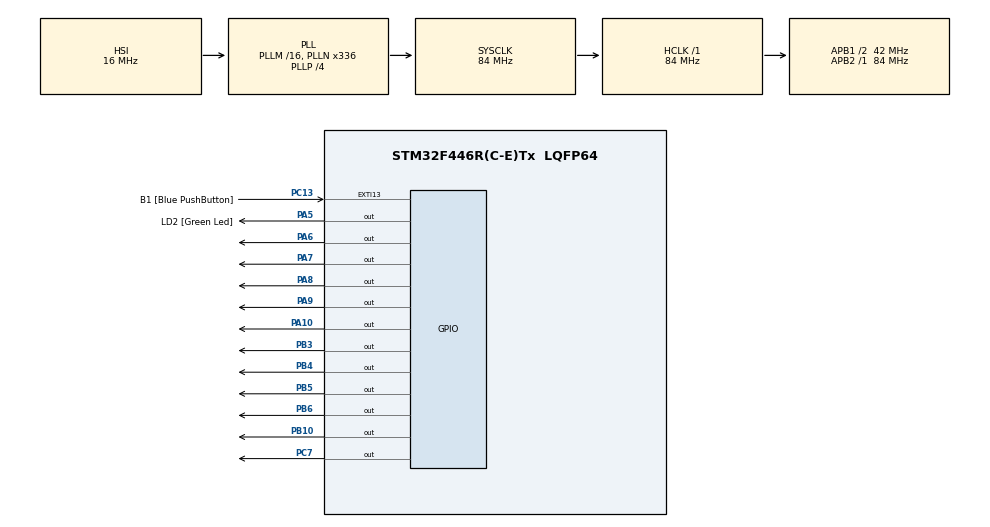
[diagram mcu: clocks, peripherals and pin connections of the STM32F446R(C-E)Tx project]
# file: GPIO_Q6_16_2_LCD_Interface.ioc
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Mcu.Family=STM32F4
Mcu.Name=STM32F446R(C-E)Tx
Mcu.Package=LQFP64
NVIC.PriorityGroup=NVIC_PRIORITYGROUP_0
PA10.Signal=GPIO_Output
PA13.GPIO_Label=TMS
PA13.Signal=SYS_JTMS-SWDIO
PA14.GPIO_Label=TCK
PA14.Signal=SYS_JTCK-SWCLK
PA2.GPIO_Label=USART_TX
PA2.Signal=USART2_TX
PA3.GPIO_Label=USART_RX
PA3.Signal=USART2_RX
PA5.GPIO_Label=LD2 [Green Led]
PA5.Signal=GPIO_Output
PA6.Signal=GPIO_Output
PA7.Signal=GPIO_Output
PA8.Signal=GPIO_Output
PA9.Signal=GPIO_Output
PB10.Signal=GPIO_Output
PB3.Signal=GPIO_Output
PB4.Signal=GPIO_Output
PB5.Signal=GPIO_Output
PB6.Signal=GPIO_Output
PC13.GPIO_Label=B1 [Blue PushButton]
PC13.GPIO_ModeDefaultEXTI=GPIO_MODE_IT_FALLING
PC13.Signal=GPXTI13
PC14-OSC32_IN.Signal=RCC_OSC32_IN
PC15-OSC32_OUT.Signal=RCC_OSC32_OUT
PC7.Signal=GPIO_Output
PH0-OSC_IN.Signal=RCC_OSC_IN
PH1-OSC_OUT.Signal=RCC_OSC_OUT
ProjectManager.HeapSize=0x200
ProjectManager.StackSize=0x400
ProjectManager.TargetToolchain=STM32CubeIDE
RCC.AHBFreq_Value=84000000
RCC.APB1CLKDivider=RCC_HCLK_DIV2
RCC.APB1Freq_Value=42000000
RCC.APB1TimFreq_Value=84000000
RCC.APB2Freq_Value=84000000
RCC.APB2TimFreq_Value=84000000
RCC.CortexFreq_Value=84000000
RCC.FLatency-AdvancedSettings=FLASH_LATENCY_2
RCC.HCLKFreq_Value=84000000
RCC.HSE_VALUE=8000000
RCC.HSI_VALUE=16000000
RCC.LSE_VALUE=32768
RCC.PLLN=336
RCC.PLLP=RCC_PLLP_DIV4
RCC.SYSCLKFreq_VALUE=84000000
RCC.SYSCLKSource=RCC_SYSCLKSOURCE_PLLCLK
RCC.USBFreq_Value=168000000
RCC.VCOOutputFreq_Value=336000000
board=NUCLEO-F446RE

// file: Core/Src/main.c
/* USER CODE BEGIN Header */
/**
  **************************
  * @file           : main.c
  * @brief          : Main program body
  **************************
  * @attention
  *
  * Copyright (c) 2023 STMicroelectronics.
  * All rights reserved.
  *
  * This software is licensed under terms that can be found in the LICENSE file
  * in the root directory of this software component.
  * If no LICENSE file comes with this software, it is provided AS-IS.
  *
  **************************
  */
/* USER CODE END Header */
#include "main.h"
#include<stdio.h>void lcd_init(void);
#include<string.h>
void print(unsigned char);
void lcd_init(void);
void lcd_data(unsigned char);
void lcd_cmd(unsigned char);
void lcd_display(unsigned char *,unsigned int);

void SystemClock_Config(void);
static void MX_GPIO_Init(void);

/* USER CODE BEGIN 0 */
void print(unsigned char dat)
{
	///////0
	if((dat&0x1)==0x1)
	{
		HAL_GPIO_WritePin(GPIOA, GPIO_PIN_10, SET);
	}
	else
	{
		HAL_GPIO_WritePin(GPIOA, GPIO_PIN_10, RESET);
	}
	////////1
	if((dat&0x2)==0x2)
	{
		HAL_GPIO_WritePin(GPIOB, GPIO_PIN_3, SET);
	}
	else
	{
		HAL_GPIO_WritePin(GPIOB, GPIO_PIN_3, RESET);
	}
	////////2
	if((dat&0x4)==0x4)
		{
			HAL_GPIO_WritePin(GPIOB, GPIO_PIN_5, SET);
		}
		else
		{
			HAL_GPIO_WritePin(GPIOB, GPIO_PIN_5, RESET);
		}
	////////3
	if((dat&0x8)==0x8)
		{
			HAL_GPIO_WritePin(GPIOB, GPIO_PIN_4, SET);
		}
		else
		{
			HAL_GPIO_WritePin(GPIOB, GPIO_PIN_4, RESET);
		}
	////////4
	if((dat&0x10)==0x10)
		{
			HAL_GPIO_WritePin(GPIOB, GPIO_PIN_10, SET);
		}
		else
		{
			HAL_GPIO_WritePin(GPIOB, GPIO_PIN_10, RESET);
		}
	////////5
	if((dat&0x20)==0x20)
		{
			HAL_GPIO_WritePin(GPIOA, GPIO_PIN_8, SET);
		}
		else
		{
			HAL_GPIO_WritePin(GPIOA, GPIO_PIN_8, RESET);
		}
	////////6
	if((dat&0x40)==0x40)
		{
			HAL_GPIO_WritePin(GPIOA, GPIO_PIN_9, SET);
		}
		else
		{
			HAL_GPIO_WritePin(GPIOA, GPIO_PIN_9, RESET);
		}
	////////7
	if((dat&0x80)==0x80)
		{
			HAL_GPIO_WritePin(GPIOC, GPIO_PIN_7, SET);
		}
		else
		{
			HAL_GPIO_WritePin(GPIOC, GPIO_PIN_7, RESET);
		}

}
void lcd_cmd(unsigned char cmd)
{
	print(cmd);
	HAL_GPIO_WritePin(GPIOB, GPIO_PIN_6, RESET);//REG SELECT PIN =0 for command
	HAL_GPIO_WritePin(GPIOA, GPIO_PIN_7, RESET);//READ WRITE PIN =0 for write
	HAL_GPIO_WritePin(GPIOA, GPIO_PIN_6, SET);// ENABLE PIN =1
	HAL_Delay(2);
	HAL_GPIO_WritePin(GPIOA, GPIO_PIN_6, RESET);// ENABLE PIN =0

}
void lcd_data(unsigned char mydat)
{
	print(mydat);
	HAL_GPIO_WritePin(GPIOB, GPIO_PIN_6, SET); // RS = 1 for data
	HAL_GPIO_WritePin(GPIOA, GPIO_PIN_7, RESET); // RW = 0 for write
	HAL_GPIO_WritePin(GPIOA, GPIO_PIN_6, SET); // EN = 1
	HAL_Delay(2);
	HAL_GPIO_WritePin(GPIOA, GPIO_PIN_6, RESET); // EN = 0

}
void lcd_init()
{void lcd_init(void);
	lcd_cmd(0x38); // 8-bit mode, 2 lines, 5x7 font
	lcd_cmd(0x06); // Entry mode: increment, no shift
	lcd_cmd(0x01); // Clear display
	lcd_cmd(0x0C); // Display on, cursor off, blink off
}
void lcd_display(unsigned char *str,unsigned int length)
{
	for(int i=0;i<length;i++)
	{
		lcd_data(str[i]);
	}
}
/* USER CODE END 0 */

int main(void)
{

  /* MCU Configuration--------------------------------------------------------*/

  /* Reset of all peripherals, Initializes the Flash interface and the Systick. */
  HAL_Init();

  /* Configure the system clock */
  SystemClock_Config();

  /* Initialize all configured peripherals */
  MX_GPIO_Init();
  /* USER CODE BEGIN 2 */
  lcd_init();
  /* USER CODE END 2 */

  /* Infinite loop */
  while (1)
  {

    /* USER CODE BEGIN 3 */
	  lcd_cmd(0x80);
	  lcd_display("Hi Deepak",12);
	  //lcd_data('a');
  }
  /* USER CODE END 3 */
}

void SystemClock_Config(void)
{
  RCC_OscInitTypeDef RCC_OscInitStruct = {0};
  RCC_ClkInitTypeDef RCC_ClkInitStruct = {0};

  /** Configure the main internal regulator output voltage
  */
  __HAL_RCC_PWR_CLK_ENABLE();
  __HAL_PWR_VOLTAGESCALING_CONFIG(PWR_REGULATOR_VOLTAGE_SCALE3);

  /** Initializes the RCC Oscillators according to the specified parameters
  * in the RCC_OscInitTypeDef structure.
  */
  RCC_OscInitStruct.OscillatorType = RCC_OSCILLATORTYPE_HSI;
  RCC_OscInitStruct.HSIState = RCC_HSI_ON;
  RCC_OscInitStruct.HSICalibrationValue = RCC_HSICALIBRATION_DEFAULT;
  RCC_OscInitStruct.PLL.PLLState = RCC_PLL_ON;
  RCC_OscInitStruct.PLL.PLLSource = RCC_PLLSOURCE_HSI;
  RCC_OscInitStruct.PLL.PLLM = 16;
  RCC_OscInitStruct.PLL.PLLN = 336;
  RCC_OscInitStruct.PLL.PLLP = RCC_PLLP_DIV4;
  RCC_OscInitStruct.PLL.PLLQ = 2;
  RCC_OscInitStruct.PLL.PLLR = 2;
  if (HAL_RCC_OscConfig(&RCC_OscInitStruct) != HAL_OK)
  {
    Error_Handler();
  }

  /** Initializes the CPU, AHB and APB buses clocks
  */
  RCC_ClkInitStruct.ClockType = RCC_CLOCKTYPE_HCLK|RCC_CLOCKTYPE_SYSCLK
                              |RCC_CLOCKTYPE_PCLK1|RCC_CLOCKTYPE_PCLK2;
  RCC_ClkInitStruct.SYSCLKSource = RCC_SYSCLKSOURCE_PLLCLK;
  RCC_ClkInitStruct.AHBCLKDivider = RCC_SYSCLK_DIV1;
  RCC_ClkInitStruct.APB1CLKDivider = RCC_HCLK_DIV2;
  RCC_ClkInitStruct.APB2CLKDivider = RCC_HCLK_DIV1;

  if (HAL_RCC_ClockConfig(&RCC_ClkInitStruct, FLASH_LATENCY_2) != HAL_OK)
  {
    Error_Handler();
  }
}

static void MX_GPIO_Init(void)
{
  GPIO_InitTypeDef GPIO_InitStruct = {0};

  /* GPIO Ports Clock Enable */
  __HAL_RCC_GPIOC_CLK_ENABLE();
  __HAL_RCC_GPIOH_CLK_ENABLE();
  __HAL_RCC_GPIOA_CLK_ENABLE();
  __HAL_RCC_GPIOB_CLK_ENABLE();

  /*Configure GPIO pin Output Level */
  HAL_GPIO_WritePin(GPIOA, LD2_Pin|GPIO_PIN_6|GPIO_PIN_7|GPIO_PIN_8
                          |GPIO_PIN_9|GPIO_PIN_10, GPIO_PIN_RESET);

  /*Configure GPIO pin Output Level */
  HAL_GPIO_WritePin(GPIOB, GPIO_PIN_10|GPIO_PIN_3|GPIO_PIN_4|GPIO_PIN_5
                          |GPIO_PIN_6, GPIO_PIN_RESET);

  /*Configure GPIO pin Output Level */
  HAL_GPIO_WritePin(GPIOC, GPIO_PIN_7, GPIO_PIN_RESET);

  /*Configure GPIO pin : B1_Pin */
  GPIO_InitStruct.Pin = B1_Pin;
  GPIO_InitStruct.Mode = GPIO_MODE_IT_FALLING;
  GPIO_InitStruct.Pull = GPIO_NOPULL;
  HAL_GPIO_Init(B1_GPIO_Port, &GPIO_InitStruct);

  /*Configure GPIO pins : USART_TX_Pin USART_RX_Pin */
  GPIO_InitStruct.Pin = USART_TX_Pin|USART_RX_Pin;
  GPIO_InitStruct.Mode = GPIO_MODE_AF_PP;
  GPIO_InitStruct.Pull = GPIO_NOPULL;
  GPIO_InitStruct.Speed = GPIO_SPEED_FREQ_VERY_HIGH;
  GPIO_InitStruct.Alternate = GPIO_AF7_USART2;
  HAL_GPIO_Init(GPIOA, &GPIO_InitStruct);

  /*Configure GPIO pins : LD2_Pin PA6 PA7 PA8
                           PA9 PA10 */
  GPIO_InitStruct.Pin = LD2_Pin|GPIO_PIN_6|GPIO_PIN_7|GPIO_PIN_8
                          |GPIO_PIN_9|GPIO_PIN_10;
  GPIO_InitStruct.Mode = GPIO_MODE_OUTPUT_PP;
  GPIO_InitStruct.Pull = GPIO_NOPULL;
  GPIO_InitStruct.Speed = GPIO_SPEED_FREQ_LOW;
  HAL_GPIO_Init(GPIOA, &GPIO_InitStruct);

  /*Configure GPIO pins : PB10 PB3 PB4 PB5
                           PB6 */
  GPIO_InitStruct.Pin = GPIO_PIN_10|GPIO_PIN_3|GPIO_PIN_4|GPIO_PIN_5
                          |GPIO_PIN_6;
  GPIO_InitStruct.Mode = GPIO_MODE_OUTPUT_PP;
  GPIO_InitStruct.Pull = GPIO_NOPULL;
  GPIO_InitStruct.Speed = GPIO_SPEED_FREQ_LOW;
  HAL_GPIO_Init(GPIOB, &GPIO_InitStruct);

  /*Configure GPIO pin : PC7 */
  GPIO_InitStruct.Pin = GPIO_PIN_7;
  GPIO_InitStruct.Mode = GPIO_MODE_OUTPUT_PP;
  GPIO_InitStruct.Pull = GPIO_NOPULL;
  GPIO_InitStruct.Speed = GPIO_SPEED_FREQ_LOW;
  HAL_GPIO_Init(GPIOC, &GPIO_InitStruct);

}

void Error_Handler(void)
{
  __disable_irq();
  while (1)
  {
  }
}
